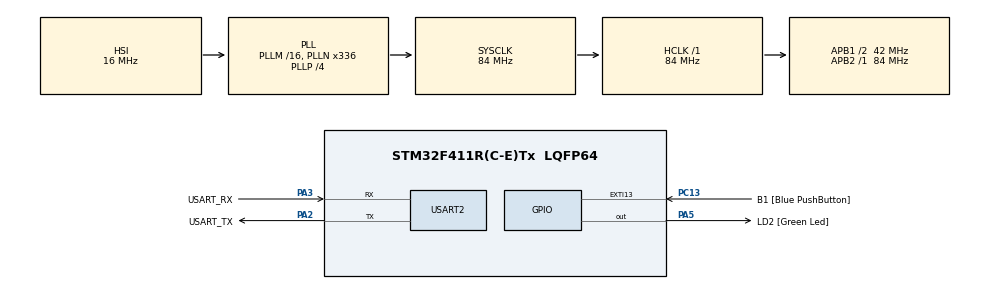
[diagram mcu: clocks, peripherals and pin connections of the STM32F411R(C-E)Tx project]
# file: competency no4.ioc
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ADC1.Channel-0\#ChannelRegularConversion=ADC_CHANNEL_TEMPSENSOR
ADC1.NbrOfConversionFlag=1
ADC1.Rank-0\#ChannelRegularConversion=1
ADC1.SamplingTime-0\#ChannelRegularConversion=ADC_SAMPLETIME_3CYCLES
ADC1.master=1
Mcu.Family=STM32F4
Mcu.Name=STM32F411R(C-E)Tx
Mcu.Package=LQFP64
NVIC.ADC_IRQn=true\:0\:0\:false\:false\:true\:true\:true\:true
NVIC.PriorityGroup=NVIC_PRIORITYGROUP_0
PA13.GPIO_Label=TMS
PA13.Mode=Serial_Wire
PA13.Signal=SYS_JTMS-SWDIO
PA14.GPIO_Label=TCK
PA14.Mode=Serial_Wire
PA14.Signal=SYS_JTCK-SWCLK
PA2.GPIO_Label=USART_TX
PA2.Mode=Asynchronous
PA2.Signal=USART2_TX
PA3.GPIO_Label=USART_RX
PA3.Mode=Asynchronous
PA3.Signal=USART2_RX
PA5.GPIO_Label=LD2 [Green Led]
PA5.Signal=GPIO_Output
PB3.GPIO_Label=SWO
PB3.Signal=SYS_JTDO-SWO
PC13-ANTI_TAMP.GPIO_Label=B1 [Blue PushButton]
PC13-ANTI_TAMP.GPIO_ModeDefaultEXTI=GPIO_MODE_IT_FALLING
PC13-ANTI_TAMP.Signal=GPXTI13
PC14-OSC32_IN.Mode=LSE-External-Oscillator
PC14-OSC32_IN.Signal=RCC_OSC32_IN
PC15-OSC32_OUT.Mode=LSE-External-Oscillator
PC15-OSC32_OUT.Signal=RCC_OSC32_OUT
PH0\ -\ OSC_IN.Mode=HSE-External-Clock-Source
PH0\ -\ OSC_IN.Signal=RCC_OSC_IN
PH1\ -\ OSC_OUT.Mode=HSE-External-Clock-Source
PH1\ -\ OSC_OUT.Signal=RCC_OSC_OUT
ProjectManager.HeapSize=0x200
ProjectManager.StackSize=0x400
ProjectManager.TargetToolchain=STM32CubeIDE
RCC.48MHZClocksFreq_Value=84000000
RCC.AHBFreq_Value=84000000
RCC.APB1CLKDivider=RCC_HCLK_DIV2
RCC.APB1Freq_Value=42000000
RCC.APB1TimFreq_Value=84000000
RCC.APB2Freq_Value=84000000
RCC.APB2TimFreq_Value=84000000
RCC.CortexFreq_Value=84000000
RCC.FLatency-AdvancedSettings=FLASH_LATENCY_2
RCC.HCLKFreq_Value=84000000
RCC.HSE_VALUE=8000000
RCC.HSI_VALUE=16000000
RCC.PLLN=336
RCC.PLLP=RCC_PLLP_DIV4
RCC.SYSCLKFreq_VALUE=84000000
RCC.SYSCLKSource=RCC_SYSCLKSOURCE_PLLCLK
RCC.VCOOutputFreq_Value=336000000
USART2.VirtualMode=VM_ASYNC
VP_ADC1_TempSens_Input.Mode=IN-TempSens
board=NUCLEO-F411RE

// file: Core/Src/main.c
/* USER CODE BEGIN Header */
//ทำที่หอ
/**
  ******************************************************************************
  * @file           : main.c
  * @brief          : Main program body
  ******************************************************************************
  * @attention
  *
  * Copyright (c) 2022 STMicroelectronics.
  * All rights reserved.
  *
  * This software is licensed under terms that can be found in the LICENSE file
  * in the root directory of this software component.
  * If no LICENSE file comes with this software, it is provided AS-IS.
  *
  ******************************************************************************
  */
/* USER CODE END Header */
#include "main.h"

 ADC_HandleTypeDef hadc1;

UART_HandleTypeDef huart2;

/* USER CODE BEGIN PV */
typedef struct
{
	ADC_ChannelConfTypeDef Config;
	uint16_t data;
}ADCStructure;
ADCStructure ADCChannel;
float temp;

/* USER CODE END PV */

void SystemClock_Config(void);
static void MX_GPIO_Init(void);
static void MX_USART2_UART_Init(void);
static void MX_ADC1_Init(void);
/* USER CODE BEGIN PFP */
void ADCTem();
void ADCConfigTnit();
/* USER CODE END PFP */

int main(void)
{

  /* MCU Configuration--------------------------------------------------------*/

  /* Reset of all peripherals, Initializes the Flash interface and the Systick. */
  HAL_Init();

  /* Configure the system clock */
  SystemClock_Config();

  /* Initialize all configured peripherals */
  MX_GPIO_Init();
  MX_USART2_UART_Init();
  MX_ADC1_Init();
  /* USER CODE BEGIN 2 */
  ADCConfigTnit();
  /* USER CODE END 2 */

  /* Infinite loop */
  while (1)
  {

    /* USER CODE BEGIN 3 */
	  ADCTem();

  }
  /* USER CODE END 3 */
}

void SystemClock_Config(void)
{
  RCC_OscInitTypeDef RCC_OscInitStruct = {0};
  RCC_ClkInitTypeDef RCC_ClkInitStruct = {0};

  /** Configure the main internal regulator output voltage
  */
  __HAL_RCC_PWR_CLK_ENABLE();
  __HAL_PWR_VOLTAGESCALING_CONFIG(PWR_REGULATOR_VOLTAGE_SCALE1);

  /** Initializes the RCC Oscillators according to the specified parameters
  * in the RCC_OscInitTypeDef structure.
  */
  RCC_OscInitStruct.OscillatorType = RCC_OSCILLATORTYPE_HSI;
  RCC_OscInitStruct.HSIState = RCC_HSI_ON;
  RCC_OscInitStruct.HSICalibrationValue = RCC_HSICALIBRATION_DEFAULT;
  RCC_OscInitStruct.PLL.PLLState = RCC_PLL_ON;
  RCC_OscInitStruct.PLL.PLLSource = RCC_PLLSOURCE_HSI;
  RCC_OscInitStruct.PLL.PLLM = 16;
  RCC_OscInitStruct.PLL.PLLN = 336;
  RCC_OscInitStruct.PLL.PLLP = RCC_PLLP_DIV4;
  RCC_OscInitStruct.PLL.PLLQ = 4;
  if (HAL_RCC_OscConfig(&RCC_OscInitStruct) != HAL_OK)
  {
    Error_Handler();
  }

  /** Initializes the CPU, AHB and APB buses clocks
  */
  RCC_ClkInitStruct.ClockType = RCC_CLOCKTYPE_HCLK|RCC_CLOCKTYPE_SYSCLK
                              |RCC_CLOCKTYPE_PCLK1|RCC_CLOCKTYPE_PCLK2;
  RCC_ClkInitStruct.SYSCLKSource = RCC_SYSCLKSOURCE_PLLCLK;
  RCC_ClkInitStruct.AHBCLKDivider = RCC_SYSCLK_DIV1;
  RCC_ClkInitStruct.APB1CLKDivider = RCC_HCLK_DIV2;
  RCC_ClkInitStruct.APB2CLKDivider = RCC_HCLK_DIV1;

  if (HAL_RCC_ClockConfig(&RCC_ClkInitStruct, FLASH_LATENCY_2) != HAL_OK)
  {
    Error_Handler();
  }
}

static void MX_ADC1_Init(void)
{

  ADC_ChannelConfTypeDef sConfig = {0};

  /** Configure the global features of the ADC (Clock, Resolution, Data Alignment and number of conversion)
  */
  hadc1.Instance = ADC1;
  hadc1.Init.ClockPrescaler = ADC_CLOCK_SYNC_PCLK_DIV4;
  hadc1.Init.Resolution = ADC_RESOLUTION_12B;
  hadc1.Init.ScanConvMode = DISABLE;
  hadc1.Init.ContinuousConvMode = DISABLE;
  hadc1.Init.DiscontinuousConvMode = DISABLE;
  hadc1.Init.ExternalTrigConvEdge = ADC_EXTERNALTRIGCONVEDGE_NONE;
  hadc1.Init.ExternalTrigConv = ADC_SOFTWARE_START;
  hadc1.Init.DataAlign = ADC_DATAALIGN_RIGHT;
  hadc1.Init.NbrOfConversion = 1;
  hadc1.Init.DMAContinuousRequests = DISABLE;
  hadc1.Init.EOCSelection = ADC_EOC_SINGLE_CONV;
  if (HAL_ADC_Init(&hadc1) != HAL_OK)
  {
    Error_Handler();
  }

  /** Configure for the selected ADC regular channel its corresponding rank in the sequencer and its sample time.
  */
  sConfig.Channel = ADC_CHANNEL_TEMPSENSOR;
  sConfig.Rank = 1;
  sConfig.SamplingTime = ADC_SAMPLETIME_3CYCLES;
  if (HAL_ADC_ConfigChannel(&hadc1, &sConfig) != HAL_OK)
  {
    Error_Handler();
  }

}

static void MX_USART2_UART_Init(void)
{

  huart2.Instance = USART2;
  huart2.Init.BaudRate = 115200;
  huart2.Init.WordLength = UART_WORDLENGTH_8B;
  huart2.Init.StopBits = UART_STOPBITS_1;
  huart2.Init.Parity = UART_PARITY_NONE;
  huart2.Init.Mode = UART_MODE_TX_RX;
  huart2.Init.HwFlowCtl = UART_HWCONTROL_NONE;
  huart2.Init.OverSampling = UART_OVERSAMPLING_16;
  if (HAL_UART_Init(&huart2) != HAL_OK)
  {
    Error_Handler();
  }

}

static void MX_GPIO_Init(void)
{
  GPIO_InitTypeDef GPIO_InitStruct = {0};

  /* GPIO Ports Clock Enable */
  __HAL_RCC_GPIOC_CLK_ENABLE();
  __HAL_RCC_GPIOH_CLK_ENABLE();
  __HAL_RCC_GPIOA_CLK_ENABLE();
  __HAL_RCC_GPIOB_CLK_ENABLE();

  /*Configure GPIO pin Output Level */
  HAL_GPIO_WritePin(LD2_GPIO_Port, LD2_Pin, GPIO_PIN_RESET);

  /*Configure GPIO pin : B1_Pin */
  GPIO_InitStruct.Pin = B1_Pin;
  GPIO_InitStruct.Mode = GPIO_MODE_IT_FALLING;
  GPIO_InitStruct.Pull = GPIO_NOPULL;
  HAL_GPIO_Init(B1_GPIO_Port, &GPIO_InitStruct);

  /*Configure GPIO pin : LD2_Pin */
  GPIO_InitStruct.Pin = LD2_Pin;
  GPIO_InitStruct.Mode = GPIO_MODE_OUTPUT_PP;
  GPIO_InitStruct.Pull = GPIO_NOPULL;
  GPIO_InitStruct.Speed = GPIO_SPEED_FREQ_LOW;
  HAL_GPIO_Init(LD2_GPIO_Port, &GPIO_InitStruct);

}

/* USER CODE BEGIN 4 */

void ADCConfigTnit()
{
	ADCChannel.Config.Channel = ADC_CHANNEL_TEMPSENSOR;
	ADCChannel.Config.SamplingTime = ADC_SAMPLETIME_3CYCLES;
	ADCChannel.Config.Rank = 1;

}
void ADCTem()
{
	  HAL_ADC_ConfigChannel(&hadc1, &ADCChannel.Config);
	  HAL_ADC_Start(&hadc1);
	  if(HAL_ADC_PollForConversion(&hadc1, 1000)== HAL_OK)
	  {
	     temp = (ADCChannel.data = HAL_ADC_GetValue(&hadc1))*330/1023;
	  }
	  else
	  HAL_ADC_Stop(&hadc1);

}
/* USER CODE END 4 */

void Error_Handler(void)
{
  __disable_irq();
  while (1)
  {
  }
}
